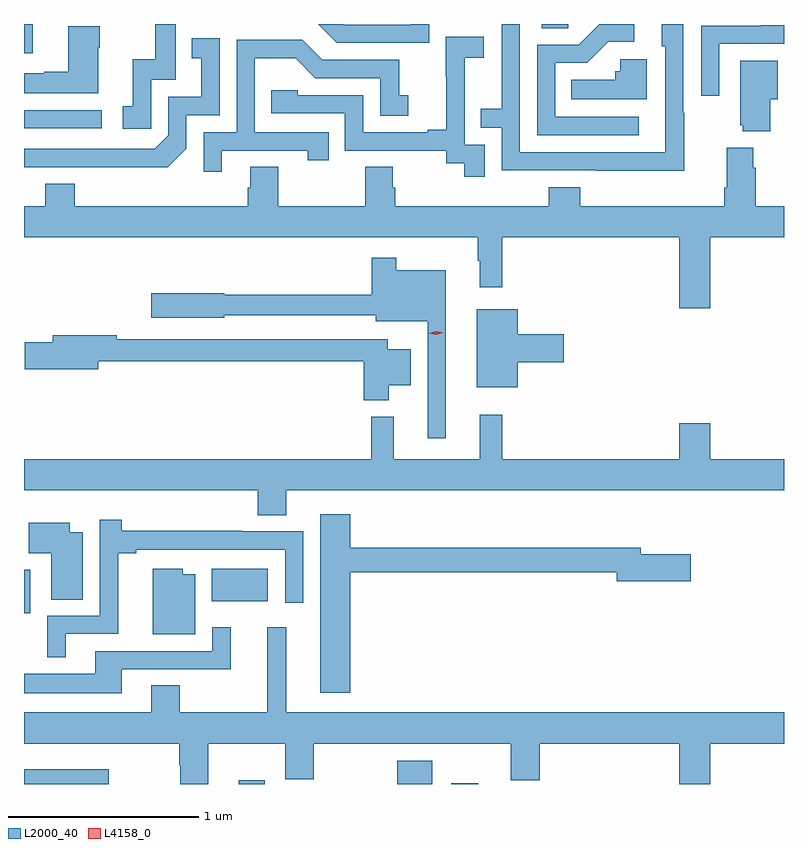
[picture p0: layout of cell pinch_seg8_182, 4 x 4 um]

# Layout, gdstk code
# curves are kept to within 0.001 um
import gdstk
lib = gdstk.Library(unit=1e-6, precision=1e-09)
def R(c, l, rs):  # rectangles x0, y0, x1, y1
    for r in rs: c.add(gdstk.rectangle(r[:2], r[2:], *l))
def P(c, l, *ps):  # polygons
    for p in ps: c.add(gdstk.Polygon(p, *l))
L2000_40 = (2000, 40)
L4158_0 = (4158, 0)

pinch_seg8_182 = lib.new_cell('pinch_seg8_182')
R(pinch_seg8_182, L2000_40, [(629.091,1150.919,629.536,1150.996), (630.221,1150.919,630.357,1150.939), (631.055,1150.919,631.24,1151.041), (631.34,1150.919,631.483,1150.924), (629.091,1151.819,629.125,1152.046), (630.08,1151.882,630.373,1152.052), (629.091,1154.37,629.5,1154.466), (629.091,1154.766,629.137,1154.919), (631.817,1154.896,631.956,1154.919)])
P(pinch_seg8_182, L2000_40, [(631.224,1154.919),(631.127,1154.919),(631.127,1154.916),(630.78,1154.916),(630.777,1154.919),(630.639,1154.919),(630.738,1154.82),(631.224,1154.82)],
  [(632.565,1154.453),(632.562,1154.453),(632.562,1154.919),(632.447,1154.919),(632.447,1154.802),(632.466,1154.802),(632.466,1154.456),(632.465,1154.456),(632.465,1154.244),(631.701,1154.244),(631.701,1154.919),(631.605,1154.919),(631.605,1154.474),(631.495,1154.474),(631.495,1154.373),(631.605,1154.373),(631.605,1154.148),(632.101,1154.148),(632.101,1154.147),(632.565,1154.147)],
  [(629.76,1154.625),(629.889,1154.625),(629.889,1154.919),(629.781,1154.919),(629.781,1154.734),(629.663,1154.734),(629.663,1154.487),(629.61,1154.487),(629.61,1154.367),(629.76,1154.367)],
  [(632.326,1154.43),(631.887,1154.43),(631.887,1154.715),(632.056,1154.715),(632.167,1154.826),(632.302,1154.826),(632.302,1154.919),(632.118,1154.919),(632.01,1154.811),(631.791,1154.811),(631.791,1154.334),(632.326,1154.334)],
  [(632.751,1154.814),(633.091,1154.814),(633.091,1154.912),(632.971,1154.912),(632.971,1154.91),(632.655,1154.91),(632.655,1154.541),(632.751,1154.541)],
  [(629.482,1154.795),(629.49,1154.795),(629.49,1154.908),(629.324,1154.908),(629.324,1154.669),(629.198,1154.669),(629.198,1154.659),(629.091,1154.659),(629.091,1154.555),(629.482,1154.555)],
  [(631.515,1154.283),(631.41,1154.283),(631.41,1154.513),(631.412,1154.513),(631.412,1154.741),(631.51,1154.741),(631.51,1154.851),(631.312,1154.851),(631.312,1154.645),(631.313,1154.645),(631.313,1154.362),(631.217,1154.362),(631.217,1154.349),(630.876,1154.349),(630.876,1154.544),(630.531,1154.544),(630.531,1154.571),(630.391,1154.571),(630.391,1154.448),(630.78,1154.448),(630.78,1154.253),(631.314,1154.253),(631.314,1154.185),(631.407,1154.185),(631.407,1154.115),(631.515,1154.115)],
  [(629.946,1154.262),(629.946,1154.439),(630.12,1154.439),(630.12,1154.845),(629.974,1154.845),(629.974,1154.739),(630.023,1154.739),(630.023,1154.535),(629.85,1154.535),(629.85,1154.334),(629.778,1154.262),(629.091,1154.262),(629.091,1154.166),(629.848,1154.165)],
  [(630.133,1154.253),(630.584,1154.253),(630.584,1154.202),(630.695,1154.202),(630.695,1154.349),(630.306,1154.349),(630.306,1154.738),(630.52,1154.738),(630.624,1154.634),(630.966,1154.634),(630.966,1154.436),(631.114,1154.436),(631.114,1154.545),(631.065,1154.545),(631.065,1154.73),(630.661,1154.73),(630.556,1154.835),(630.21,1154.835),(630.21,1154.349),(630.036,1154.349),(630.036,1154.142),(630.133,1154.142)],
  [(632.368,1154.734),(632.229,1154.734),(632.229,1154.67),(632.203,1154.67),(632.203,1154.626),(631.972,1154.626),(631.972,1154.522),(632.368,1154.522)],
  [(633.019,1154.522),(633.058,1154.522),(633.058,1154.725),(632.861,1154.725),(632.861,1154.385),(632.873,1154.385),(632.873,1154.354),(633.019,1154.354)],
  [(632.789,1154.269),(632.789,1154.056),(632.777,1154.056),(632.777,1153.96),(632.018,1153.96),(632.018,1154.059),(631.853,1154.059),(631.853,1153.96),(631.046,1153.96),(631.046,1154.058),(631.033,1154.058),(631.033,1154.168),(630.886,1154.168),(630.886,1153.96),(630.429,1153.96),(630.429,1154.168),(630.281,1154.168),(630.281,1154.058),(630.269,1154.058),(630.269,1153.96),(629.357,1153.96),(629.357,1154.077),(629.204,1154.077),(629.204,1153.96),(629.091,1153.96),(629.091,1153.796),(631.479,1153.796),(631.479,1153.673),(631.49,1153.673),(631.49,1153.533),(631.607,1153.533),(631.607,1153.796),(632.54,1153.796),(632.54,1153.422),(632.704,1153.422),(632.704,1153.796),(633.091,1153.796),(633.091,1153.96),(632.942,1153.96),(632.942,1154.162),(632.929,1154.162),(632.929,1154.269)],
  [(631.312,1153.624),(631.051,1153.624),(631.051,1153.69),(630.922,1153.69),(630.922,1153.495),(630.144,1153.495),(630.144,1153.503),(629.76,1153.503),(629.76,1153.373),(630.144,1153.373),(630.144,1153.386),(630.941,1153.386),(630.941,1153.355),(631.215,1153.355),(631.215,1152.738),(631.312,1152.738)],
  [(631.69,1153.139),(631.933,1153.139),(631.933,1153.286),(631.69,1153.286),(631.69,1153.417),(631.475,1153.417),(631.475,1153.007),(631.69,1153.007)],
  [(631.012,1153.019),(631.126,1153.019),(631.126,1153.207),(631.006,1153.207),(631.006,1153.26),(629.578,1153.26),(629.578,1153.28),(629.243,1153.28),(629.243,1153.244),(629.094,1153.244),(629.094,1153.102),(629.482,1153.102),(629.482,1153.144),(630.878,1153.144),(630.878,1152.938),(631.012,1152.938)],
  [(630.472,1152.464),(633.091,1152.464),(633.091,1152.628),(632.704,1152.628),(632.704,1152.817),(632.54,1152.817),(632.54,1152.628),(631.607,1152.628),(631.607,1152.862),(631.49,1152.862),(631.49,1152.628),(631.037,1152.628),(631.037,1152.853),(630.919,1152.853),(630.919,1152.628),(629.091,1152.628),(629.091,1152.464),(630.32,1152.464),(630.32,1152.334),(630.472,1152.334)],
  [(630.809,1152.034),(632.21,1152.034),(632.21,1151.987),(632.599,1151.987),(632.599,1152.129),(632.338,1152.129),(632.338,1152.163),(630.809,1152.163),(630.809,1152.34),(630.65,1152.34),(630.65,1151.4),(630.809,1151.4)],
  [(629.311,1151.709),(629.588,1151.709),(629.588,1152.133),(629.683,1152.133),(629.683,1152.153),(630.465,1152.153),(630.465,1151.874),(630.561,1151.874),(630.561,1152.249),(630.236,1152.249),(630.236,1152.251),(629.606,1152.251),(629.606,1152.31),(629.49,1152.31),(629.49,1151.805),(629.213,1151.805),(629.213,1151.585),(629.311,1151.585)],
  [(629.401,1152.244),(629.332,1152.244),(629.332,1152.295),(629.116,1152.295),(629.116,1152.134),(629.234,1152.134),(629.234,1151.89),(629.401,1151.89)],
  [(629.992,1152.022),(629.926,1152.022),(629.926,1152.052),(629.768,1152.052),(629.768,1151.708),(629.992,1151.708)],
  [(630.061,1151.132),(630.467,1151.132),(630.467,1150.945),(630.615,1150.945),(630.615,1151.132),(631.652,1151.132),(631.652,1150.938),(631.805,1150.938),(631.805,1151.132),(632.54,1151.132),(632.54,1150.919),(632.704,1150.919),(632.704,1151.132),(633.091,1151.132),(633.091,1151.296),(630.47,1151.296),(630.47,1151.743),(630.371,1151.743),(630.371,1151.296),(629.91,1151.296),(629.91,1151.438),(629.762,1151.438),(629.762,1151.296),(629.091,1151.296),(629.091,1151.132),(629.909,1151.132),(629.909,1151.019),(629.914,1151.019),(629.914,1150.919),(630.061,1150.919)],
  [(629.605,1151.523),(630.179,1151.523),(630.179,1151.743),(630.081,1151.743),(630.081,1151.619),(629.465,1151.619),(629.465,1151.5),(629.091,1151.5),(629.091,1151.396),(629.605,1151.396)])
P(pinch_seg8_182, L4158_0, [(631.261,1153.283),(631.225,1153.291),(631.225,1153.291),(631.225,1153.291),(631.26,1153.303),(631.296,1153.294),(631.297,1153.294),(631.296,1153.294)])

lib.write_gds('pinch_seg8_182.gds')
